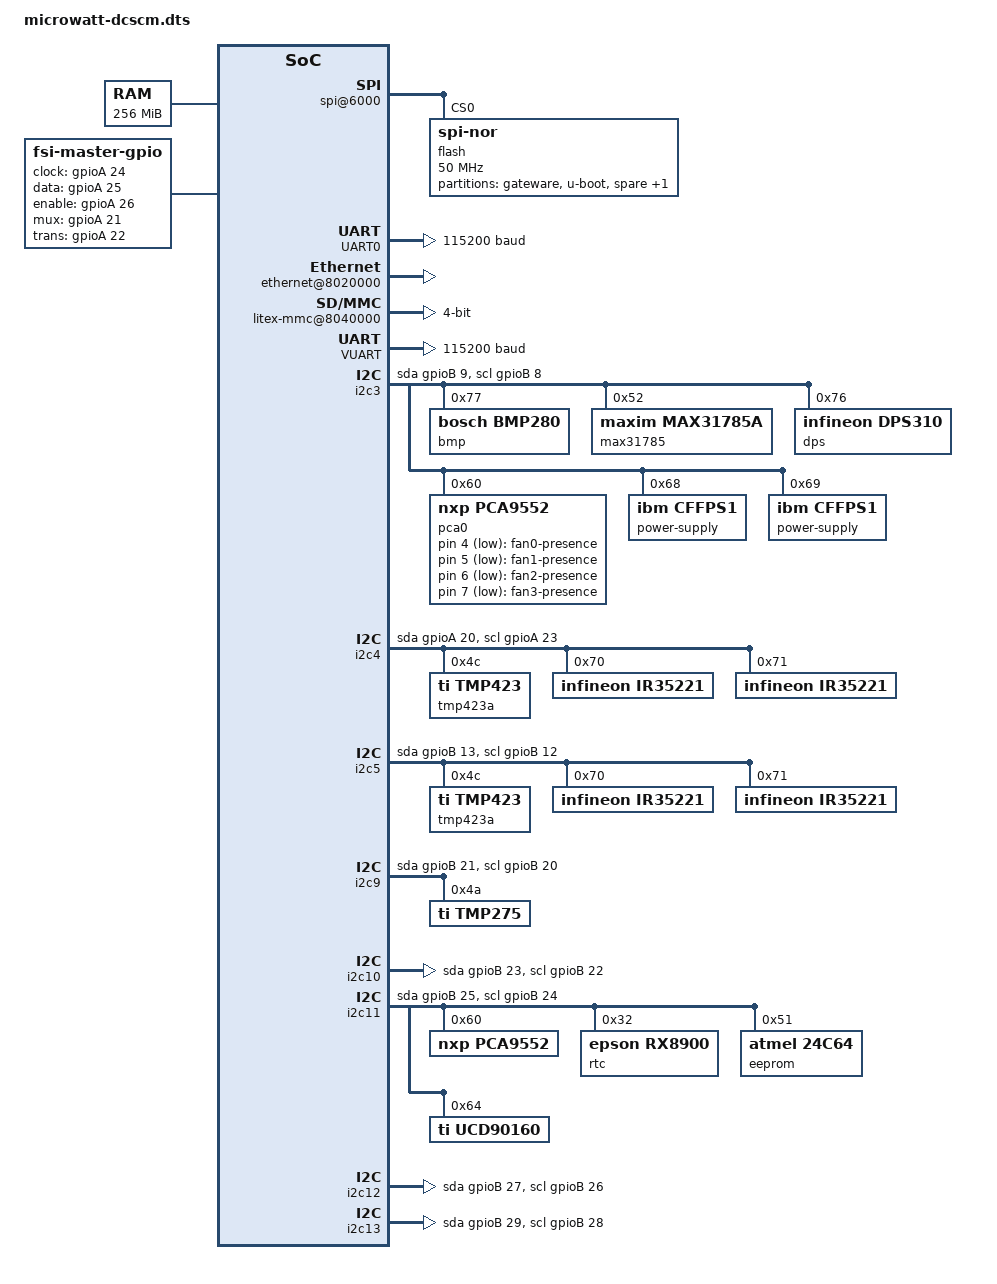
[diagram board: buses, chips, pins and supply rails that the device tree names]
/dts-v1/;

#include <dt-bindings/gpio/gpio.h>
#include <dt-bindings/leds/leds-pca955x.h>

/ {
	#size-cells = <0x02>;
	#address-cells = <0x02>;
	model-name = "microwatt-dcscm";
	compatible = "microwatt-soc";

	aliases {
		serial0 = &UART0;
		serial1 = &VUART;
		i2c0 = &i2c0;
		i2c1 = &i2c1;
		i2c2 = &i2c2;
		i2c3 = &i2c3;
		i2c4 = &i2c4;
		i2c5 = &i2c5;
		i2c6 = &i2c6;
		i2c7 = &i2c7;
		i2c8 = &i2c8;
		i2c9 = &i2c9;
		i2c10 = &i2c10;
		i2c11 = &i2c11;
		i2c12 = &i2c12;
		i2c13 = &i2c13;
	};

	reserved-memory {
		#size-cells = <0x02>;
		#address-cells = <0x02>;
		ranges;

		/* LPC FW cycle bridge region requires natural alignment */
		flash_memory: region@c000000 {
			reg = <0x00000000 0x0c000000 0x00000000 0x04000000>; /* 64M */
		};
	};

	memory@0 {
		device_type = "memory";
		reg = <0x00000000 0x00000000 0x00000000 0x10000000>;
	};

	cpus {
		#size-cells = <0x00>;
		#address-cells = <0x01>;

		ibm,powerpc-cpu-features {
			display-name = "Microwatt";
			isa = <3000>;
			device_type = "cpu-features";
			compatible = "ibm,powerpc-cpu-features";

			mmu-radix {
				isa = <3000>;
				usable-privilege = <2>;
			};

			little-endian {
				isa = <2050>;
				usable-privilege = <3>;
				hwcap-bit-nr = <1>;
			};

			cache-inhibited-large-page {
				isa = <2040>;
				usable-privilege = <2>;
			};

			fixed-point-v3 {
				isa = <3000>;
				usable-privilege = <3>;
			};

			no-execute {
				isa = <2010>;
				usable-privilege = <2>;
			};

			floating-point {
				hwcap-bit-nr = <27>;
				isa = <0>;
				usable-privilege = <3>;
			};
		};

		PowerPC,Microwatt@0 {
			i-cache-sets = <2>;
			ibm,dec-bits = <64>;
			reservation-granule-size = <64>;
			clock-frequency = <100000000>;
			timebase-frequency = <100000000>;
			i-tlb-sets = <1>;
			ibm,ppc-interrupt-server#s = <0>;
			i-cache-block-size = <64>;
			d-cache-block-size = <64>;
			d-cache-sets = <2>;
			i-tlb-size = <64>;
			cpu-version = <0x990000>;
			status = "okay";
			i-cache-size = <0x1000>;
			ibm,processor-radix-AP-encodings = <0x0c 0xa0000010 0x20000015 0x4000001e>;
			tlb-size = <0>;
			tlb-sets = <0>;
			device_type = "cpu";
			d-tlb-size = <128>;
			d-tlb-sets = <2>;
			reg = <0>;
			general-purpose;
			64-bit;
			d-cache-size = <0x1000>;
			ibm,chip-id = <0>;
		};
	};

	soc@c0000000 {
		compatible = "simple-bus";
		#address-cells = <1>;
		#size-cells = <1>;
		interrupt-parent = <&ICS>;

		ranges = <0 0 0xc0000000 0x40000000>;

		syscon@0 {
			compatible = "microwatt,syscon";
			reg = <0x0 0x100>;
		};

		interrupt-controller@4000 {
			compatible = "openpower,xics-presentation", "ibm,ppc-xicp";
			ibm,interrupt-server-ranges = <0x0 0x1>;
			reg = <0x4000 0x100>;
		};

		ICS: interrupt-controller@5000 {
			compatible = "openpower,xics-sources";
			interrupt-controller;
			interrupt-ranges = <0x10 0x10>;
			reg = <0x5000 0x100>;
			#address-cells = <0>;
			#size-cells = <0>;
			#interrupt-cells = <2>;
		};

		spi@6000 {
			compatible = "openpower,microwatt-spi";
			reg = <0x6000     0x100
			       0x30000000 0x8000000 >;
			#address-cells = <1>;
			#size-cells = <0>;
			flash@0 {
				reg = < 0 >;
				compatible = "jedec,spi-nor";
				spi-max-frequency = <50000000>;

				partitions {
					compatible = "fixed-partitions";
					#address-cells = <1>;
					#size-cells = <1>;

					gateware@0 {
						reg = <0x0 0x400000>; // 4M
						label = "gateware";
					};

					u-boot@400000 {
						reg = <0x400000 0x400000>; // 4M
						label = "u-boot";
					};

					spare@800000 {
						reg = <0x800000 0x7f0000>; // 7.9M
						label = "spare";
					};

					u-boot-env@400000 {
						reg = <0xff0000 0x10000>; // 64K
						label = "u-boot-env";
					};
				};
			};
		};

		UART0: serial@2000 {
			device_type = "serial";
			compatible = "ns16550";
			reg = <0x2000 0x8>;
			clock-frequency = <100000000>;
			current-speed = <115200>;
			reg-shift = <2>;
			fifo-size = <16>;
			interrupts = <0x10 0x1>;
		};

		ethernet@8020000 {
			compatible = "litex,liteeth";
			reg = <0x8021000 0x100
				0x8020800 0x100
				0x8030000 0x2000>;
			reg-names = "mac", "mido", "buffer";
			litex,rx-slots = <2>;
			litex,tx-slots = <2>;
			litex,slot-size = <0x800>;
			interrupts = <0x11 0x1>;
		};

		litex-mmc@8040000 {
			compatible = "litex,mmc";
			reg = <0x8042800 0x800
			       0x8041000 0x800
			       0x8040800 0x800
			       0x8042000 0x800
			       0x8041800 0x800>;
			reg-names = "phy", "core", "reader", "writer", "irq";
			bus-width = <4>;
			interrupts = <0x13 1>;
			cap-sd-highspeed;
			non-removeable;
			no-sd;
		};

		gpioA: gpio@7000 {
			compatible = "openpower,microwatt-gpio";
			gpio-controller;
			#gpio-cells = <2>;
			reg = <0x7000 0x100>;
			interrupts = <0x14 1>;
			ngpios = <32>;
		};

		gpioB: gpio@7100 {
			compatible = "openpower,microwatt-gpio";
			gpio-controller;
			#gpio-cells = <2>;
			reg = <0x8000 0x100>;
			interrupts = <0x15 1>;
			ngpios = <32>;
		};

		/* LPC units */
		VUART: serial@b000000 {
			device_type = "serial";
			compatible = "ns16550";
			reg = <0xb000000 0x8>;
			clock-frequency = <100000000>;
			current-speed = <115200>;
			reg-shift = <2>;
			fifo-size = <16>;
			interrupts = <0x16 0x1>;
		};

		ibt@b001000 {
                        compatible = "ibm,microwatt-ibt-bmc";
                        reg = <0x0b001000 0x18>;
			interrupts = <0x17 0x1>;
                };

		lpc-ctrl@b002000 {
                        compatible = "ibm,microwatt-lpc-ctrl";
                        reg = <0x0b002000 0x10>;
                        memory-region = <&flash_memory>;
                };
	};

	i2c0: i2c0 {
		status = "disabled";
		#size-cells = <0>;
		#address-cells = <1>;
	};

	i2c1: i2c1 {
		/* not connected - GPIOs unavailable */
		status = "disabled";
	};

	i2c2: i2c2 {
		status = "disabled";
		compatible = "i2c-gpio";
		scl-gpios = <&gpioB 6 (GPIO_ACTIVE_HIGH|GPIO_OPEN_DRAIN)>;
		sda-gpios = <&gpioB 7 (GPIO_ACTIVE_HIGH|GPIO_OPEN_DRAIN)>;
		#size-cells = <0>;
		#address-cells = <1>;
	};

	i2c3: i2c3 {
		status = "disabled";
		compatible = "i2c-gpio";
		scl-gpios = <&gpioB 8 (GPIO_ACTIVE_HIGH|GPIO_OPEN_DRAIN)>;
		sda-gpios = <&gpioB 9 (GPIO_ACTIVE_HIGH|GPIO_OPEN_DRAIN)>;
		#size-cells = <0>;
		#address-cells = <1>;
	};

	i2c4: i2c4 {
	        /* GPIOS clash with USB, moved to TPM header */
		status = "disabled";
		compatible = "i2c-gpio";
		scl-gpios = <&gpioA 23 (GPIO_ACTIVE_HIGH|GPIO_OPEN_DRAIN)>;
		sda-gpios = <&gpioA 20 (GPIO_ACTIVE_HIGH|GPIO_OPEN_DRAIN)>;
		#size-cells = <0>;
		#address-cells = <1>;
	};

	i2c5: i2c5 {
		status = "disabled";
		compatible = "i2c-gpio";
		scl-gpios = <&gpioB 12 (GPIO_ACTIVE_HIGH|GPIO_OPEN_DRAIN)>;
		sda-gpios = <&gpioB 13 (GPIO_ACTIVE_HIGH|GPIO_OPEN_DRAIN)>;
		#size-cells = <0>;
		#address-cells = <1>;
	};

	i2c6: i2c6 {
		status = "disabled";
		compatible = "i2c-gpio";
		scl-gpios = <&gpioA 14 (GPIO_ACTIVE_HIGH|GPIO_OPEN_DRAIN)>;
		sda-gpios = <&gpioB 15 (GPIO_ACTIVE_HIGH|GPIO_OPEN_DRAIN)>;
		#size-cells = <0>;
		#address-cells = <1>;
	};

	i2c7: i2c7 {
		status = "disabled";
		compatible = "i2c-gpio";
		scl-gpios = <&gpioB 16 (GPIO_ACTIVE_HIGH|GPIO_OPEN_DRAIN)>;
		sda-gpios = <&gpioB 17 (GPIO_ACTIVE_HIGH|GPIO_OPEN_DRAIN)>;
		#size-cells = <0>;
		#address-cells = <1>;
	};

	i2c8: i2c8 {
		status = "disabled";
		compatible = "i2c-gpio";
		scl-gpios = <&gpioB 18 (GPIO_ACTIVE_HIGH|GPIO_OPEN_DRAIN)>;
		sda-gpios = <&gpioB 19 (GPIO_ACTIVE_HIGH|GPIO_OPEN_DRAIN)>;
		#size-cells = <0>;
		#address-cells = <1>;
	};

	i2c9: i2c9 {
		status = "disabled";
		compatible = "i2c-gpio";
		scl-gpios = <&gpioB 20 (GPIO_ACTIVE_HIGH|GPIO_OPEN_DRAIN)>;
		sda-gpios = <&gpioB 21 (GPIO_ACTIVE_HIGH|GPIO_OPEN_DRAIN)>;
		#size-cells = <0>;
		#address-cells = <1>;
	};

	i2c10: i2c10 {
		status = "disabled";
		compatible = "i2c-gpio";
		scl-gpios = <&gpioB 22 (GPIO_ACTIVE_HIGH|GPIO_OPEN_DRAIN)>;
		sda-gpios = <&gpioB 23 (GPIO_ACTIVE_HIGH|GPIO_OPEN_DRAIN)>;
		#size-cells = <0>;
		#address-cells = <1>;
	};

	i2c11: i2c11 {
		status = "disabled";
		compatible = "i2c-gpio";
		scl-gpios = <&gpioB 24 (GPIO_ACTIVE_HIGH|GPIO_OPEN_DRAIN)>;
		sda-gpios = <&gpioB 25 (GPIO_ACTIVE_HIGH|GPIO_OPEN_DRAIN)>;
		#size-cells = <0>;
		#address-cells = <1>;
	};

	i2c12: i2c12 {
		status = "disabled";
		compatible = "i2c-gpio";
		scl-gpios = <&gpioB 26 (GPIO_ACTIVE_HIGH|GPIO_OPEN_DRAIN)>;
		sda-gpios = <&gpioB 27 (GPIO_ACTIVE_HIGH|GPIO_OPEN_DRAIN)>;
		#size-cells = <0>;
		#address-cells = <1>;
	};

	i2c13: i2c13 {
		status = "disabled";
		compatible = "i2c-gpio";
		scl-gpios = <&gpioB 28 (GPIO_ACTIVE_HIGH|GPIO_OPEN_DRAIN)>;
		sda-gpios = <&gpioB 29 (GPIO_ACTIVE_HIGH|GPIO_OPEN_DRAIN)>;
		#size-cells = <0>;
		#address-cells = <1>;
	};

	fsi: gpio-fsi {
		compatible = "fsi-master-gpio", "fsi-master";
		#address-cells = <2>;
		#size-cells = <0>;
		no-gpio-delays;

		clock-gpios = <&gpioA 24 GPIO_ACTIVE_HIGH>;
		data-gpios = <&gpioA 25 GPIO_ACTIVE_HIGH>;
		enable-gpios = <&gpioA 26 GPIO_ACTIVE_HIGH>;
		mux-gpios = <&gpioA 21 GPIO_ACTIVE_HIGH>;
		trans-gpios = <&gpioA 22 GPIO_ACTIVE_HIGH>;
	};

	gpio-keys-polled {
		compatible = "gpio-keys-polled";
		poll-interval = <1000>;

		fan0-presence {
			label = "fan0-presence";
			gpios = <&pca0 4 GPIO_ACTIVE_LOW>;
			linux,code = <4>;
		};

		fan1-presence {
			label = "fan1-presence";
			gpios = <&pca0 5 GPIO_ACTIVE_LOW>;
			linux,code = <5>;
		};

		fan2-presence {
			label = "fan2-presence";
			gpios = <&pca0 6 GPIO_ACTIVE_LOW>;
			linux,code = <6>;
		};

		fan3-presence {
			label = "fan3-presence";
			gpios = <&pca0 7 GPIO_ACTIVE_LOW>;
			linux,code = <7>;
		};
	};

	chosen {
		bootargs = "root=/dev/nfs nfsroot=192.168.0.3:/srv/nfsroot/witherspoon-microwatt-openbmc,nfsvers=3 ip=dhcp";
		//bootargs = "debug";
		ibm,architecture-vec-5 = [19 00 10 00 00 00 00 00 00 00 00 00 00 00 00 00
					  00 00 00 00 00 00 00 00 40 00 40];
		stdout-path = &UART0;
	};
};

&gpioA {
	gpio-line-names =
	/* 0-3 */	"user-led-0", "user-led-1", "user-led-2", "",
	/* 4-7 */	"", "", "", "",
	/* 8-11 */	"power-button", "power-ok", "standby-enable", "",
	/* 12-15 */	"", "", "", "",
	/* 16-19 */	"i2c3-mux-sel", "", "", "",
	/* 20-23 */	"", "fsi-mux", "fsi-trans", "i2c5-scl",
	/* 24-27 */	"fsi-clk", "fsi-dat", "fsi-enable", "",
	/* 28-31 */	"", "", "checkstop", ""; /* checkstop is fake */
};

&gpioB {
	gpio-line-names =
	/* 0-3 */	"i2c0-scl", "i2c0-sda", "i2c1-scl", "i2c1-sda",
	/* 4-7 */	"i2c2-scl", "i2c2-sda", "i2c3-scl", "i2c3-sda",
	/* 8-11 */	"i2c4-scl", "i2c4-sda", "", "i2c5-sda",
	/* 12-15 */	"i2c6-scl", "i2c6-sda", "i2c7-scl", "i2c7-sda",
	/* 16-19 */	"i2c8-scl", "i2c8-sda", "i2c9-scl", "i2c9-sda",
	/* 20-23 */	"i2c10-scl", "i2c10-sda", "i2c11-scl", "i2c11-sda",
	/* 24-27 */	"i2c12-scl", "i2c12-sda", "", "",
	/* 28-31 */	"", "", "", "";
};

&i2c3 {
	status = "okay";

	bmp: bmp280@77 {
		compatible = "bosch,bmp280";
		reg = <0x77>;
		#io-channel-cells = <1>;
	};

	max31785@52 {
		compatible = "maxim,max31785a";
		reg = <0x52>;
		#address-cells = <1>;
		#size-cells = <0>;
	};

	dps: dps310@76 {
		compatible = "infineon,dps310";
		reg = <0x76>;
		#io-channel-cells = <0>;
	};

	pca0: pca9552@60 {
		compatible = "nxp,pca9552";
		reg = <0x60>;
		#address-cells = <1>;
		#size-cells = <0>;

		gpio-controller;
		#gpio-cells = <2>;

		gpio@0 {
			reg = <0>;
			type = <PCA955X_TYPE_GPIO>;
		};

		gpio@1 {
			reg = <1>;
			type = <PCA955X_TYPE_GPIO>;
		};

		gpio@2 {
			reg = <2>;
			type = <PCA955X_TYPE_GPIO>;
		};

		gpio@3 {
			reg = <3>;
			type = <PCA955X_TYPE_GPIO>;
		};

		gpio@4 {
			reg = <4>;
			type = <PCA955X_TYPE_GPIO>;
		};

		gpio@5 {
			reg = <5>;
			type = <PCA955X_TYPE_GPIO>;
		};

		gpio@6 {
			reg = <6>;
			type = <PCA955X_TYPE_GPIO>;
		};

		gpio@7 {
			reg = <7>;
			type = <PCA955X_TYPE_GPIO>;
		};

		gpio@8 {
			reg = <8>;
			type = <PCA955X_TYPE_GPIO>;
		};

		gpio@9 {
			reg = <9>;
			type = <PCA955X_TYPE_GPIO>;
		};

		gpio@10 {
			reg = <10>;
			type = <PCA955X_TYPE_GPIO>;
		};

		gpio@11 {
			reg = <11>;
			type = <PCA955X_TYPE_GPIO>;
		};

		gpio@12 {
			reg = <12>;
			type = <PCA955X_TYPE_GPIO>;
		};

		gpio@13 {
			reg = <13>;
			type = <PCA955X_TYPE_GPIO>;
		};

		gpio@14 {
			reg = <14>;
			type = <PCA955X_TYPE_GPIO>;
		};

		gpio@15 {
			reg = <15>;
			type = <PCA955X_TYPE_GPIO>;
		};
	};

	power-supply@68 {
		compatible = "ibm,cffps1";
		reg = <0x68>;
	};

	power-supply@69 {
		compatible = "ibm,cffps1";
		reg = <0x69>;
	};
};

&i2c4 {
	status = "okay";

	tmp423a@4c {
		compatible = "ti,tmp423";
		reg = <0x4c>;
	};

	ir35221@70 {
		compatible = "infineon,ir35221";
		reg = <0x70>;
	};

	ir35221@71 {
		compatible = "infineon,ir35221";
		reg = <0x71>;
	};
};


&i2c5 {
	status = "okay";

	tmp423a@4c {
		compatible = "ti,tmp423";
		reg = <0x4c>;
	};

	ir35221@70 {
		compatible = "infineon,ir35221";
		reg = <0x70>;
	};

	ir35221@71 {
		compatible = "infineon,ir35221";
		reg = <0x71>;
	};
};

&i2c9 {
	status = "okay";

	tmp275@4a {
		compatible = "ti,tmp275";
		reg = <0x4a>;
	};
};

&i2c10 {
	/* MUX
	 *   -> PCIe Slot 3
	 *   -> PCIe Slot 4
	 */
	status = "okay";
};

&i2c11 {
	status = "okay";

	pca9552: pca9552@60 {
		compatible = "nxp,pca9552";
		reg = <0x60>;
		#address-cells = <1>;
		#size-cells = <0>;
		gpio-controller;
		#gpio-cells = <2>;

		gpio-line-names = "PS_SMBUS_RESET_N", "APSS_RESET_N",
			"GPU0_TH_OVERT_N_BUFF",	"GPU1_TH_OVERT_N_BUFF",
			"GPU2_TH_OVERT_N_BUFF", "GPU3_TH_OVERT_N_BUFF",
			"GPU4_TH_OVERT_N_BUFF",	"GPU5_TH_OVERT_N_BUFF",
			"GPU0_PWR_GOOD_BUFF", "GPU1_PWR_GOOD_BUFF",
			"GPU2_PWR_GOOD_BUFF", "GPU3_PWR_GOOD_BUFF",
			"GPU4_PWR_GOOD_BUFF", "GPU5_PWR_GOOD_BUFF",
			"12V_BREAKER_FLT_N", "THROTTLE_UNLATCHED_N";

		gpio@0 {
			reg = <0>;
			type = <PCA955X_TYPE_GPIO>;
		};

		gpio@1 {
			reg = <1>;
			type = <PCA955X_TYPE_GPIO>;
		};

		gpio@2 {
			reg = <2>;
			type = <PCA955X_TYPE_GPIO>;
		};

		gpio@3 {
			reg = <3>;
			type = <PCA955X_TYPE_GPIO>;
		};

		gpio@4 {
			reg = <4>;
			type = <PCA955X_TYPE_GPIO>;
		};

		gpio@5 {
			reg = <5>;
			type = <PCA955X_TYPE_GPIO>;
		};

		gpio@6 {
			reg = <6>;
			type = <PCA955X_TYPE_GPIO>;
		};

		gpio@7 {
			reg = <7>;
			type = <PCA955X_TYPE_GPIO>;
		};

		gpio@8 {
			reg = <8>;
			type = <PCA955X_TYPE_GPIO>;
		};

		gpio@9 {
			reg = <9>;
			type = <PCA955X_TYPE_GPIO>;
		};

		gpio@10 {
			reg = <10>;
			type = <PCA955X_TYPE_GPIO>;
		};

		gpio@11 {
			reg = <11>;
			type = <PCA955X_TYPE_GPIO>;
		};

		gpio@12 {
			reg = <12>;
			type = <PCA955X_TYPE_GPIO>;
		};

		gpio@13 {
			reg = <13>;
			type = <PCA955X_TYPE_GPIO>;
		};

		gpio@14 {
			reg = <14>;
			type = <PCA955X_TYPE_GPIO>;
		};

		gpio@15 {
			reg = <15>;
			type = <PCA955X_TYPE_GPIO>;
		};
	};

	rtc@32 {
		compatible = "epson,rx8900";
		reg = <0x32>;
	};

	eeprom@51 {
		compatible = "atmel,24c64";
		reg = <0x51>;
	};

	ucd90160@64 {
		compatible = "ti,ucd90160";
		reg = <0x64>;
	};
};

&i2c12 {
	status = "okay";
};

&i2c13 {
	status = "okay";
};

#include "ibm-power9-dual.dtsi"
